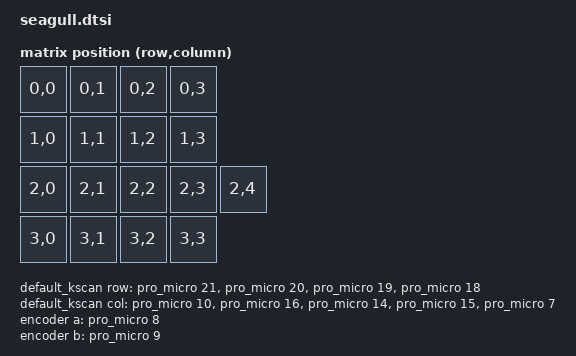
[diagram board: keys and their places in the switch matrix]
#include <dt-bindings/zmk/matrix_transform.h>
#include <physical_layouts.dtsi>

/ {
    /* ================= MATRIX TRANSFORM ================= */
    default_transform: keymap_transform_0 {
        compatible = "zmk,matrix-transform";
        columns = <5>;
        rows = <4>;

        map = <
            RC(0,0) RC(0,1) RC(0,2) RC(0,3)
            RC(1,0) RC(1,1) RC(1,2) RC(1,3)
            RC(2,0) RC(2,1) RC(2,2) RC(2,3) RC(2,4)
            RC(3,0) RC(3,1) RC(3,2) RC(3,3)
        >;
    };

    /* ================= PHYSICAL LAYOUT (INI PENTING) ================= */
    physical_layout0: physical_layout_0 {
        compatible = "zmk,physical-layout";
        display-name = "Default Layout";

        transform = <&default_transform>;

        keys =
            <&key_physical_attrs 100 100   0   0  0 0 0>,
            <&key_physical_attrs 100 100 100   0  0 0 0>,
            <&key_physical_attrs 100 100 200   0  0 0 0>,
            <&key_physical_attrs 100 100 300   0  0 0 0>,

            <&key_physical_attrs 100 100   0 100  0 0 0>,
            <&key_physical_attrs 100 100 100 100  0 0 0>,
            <&key_physical_attrs 100 100 200 100  0 0 0>,
            <&key_physical_attrs 100 100 300 100  0 0 0>,

            <&key_physical_attrs 100 100   0 200  0 0 0>,
            <&key_physical_attrs 100 100 100 200  0 0 0>,
            <&key_physical_attrs 100 100 200 200  0 0 0>,
            <&key_physical_attrs 100 100 300 200  0 0 0>,
            <&key_physical_attrs 100 100 400 200  0 0 0>,

            <&key_physical_attrs 100 100   0 300  0 0 0>,
            <&key_physical_attrs 100 100 100 300  0 0 0>,
            <&key_physical_attrs 100 100 200 300  0 0 0>,
            <&key_physical_attrs 100 100 300 300  0 0 0>;
    };

    /* ================= KSCAN ================= */
    default_kscan: kscan {
        compatible = "zmk,kscan-gpio-matrix";
        diode-direction = "col2row";

        row-gpios = <&pro_micro 21 GPIO_ACTIVE_HIGH>,
                     <&pro_micro 20 GPIO_ACTIVE_HIGH>,
                     <&pro_micro 19 GPIO_ACTIVE_HIGH>,
                     <&pro_micro 18 GPIO_ACTIVE_HIGH>;

        col-gpios = <&pro_micro 10 GPIO_ACTIVE_HIGH>,
                     <&pro_micro 16 GPIO_ACTIVE_HIGH>,
                     <&pro_micro 14 GPIO_ACTIVE_HIGH>,
                     <&pro_micro 15 GPIO_ACTIVE_HIGH>,
                     <&pro_micro 7  GPIO_ACTIVE_HIGH>;
    };

    /* ================= ENCODER ================= */
    encoder: encoder {
        compatible = "alps,ec11";
        a-gpios = <&pro_micro 8 GPIO_ACTIVE_HIGH>;
        b-gpios = <&pro_micro 9 GPIO_ACTIVE_HIGH>;
        steps = <48>;
    };

    sensors: sensors {
        compatible = "zmk,keymap-sensors";
        sensors = <&encoder>;
        triggers-per-rotation = <12>;
    };
};
